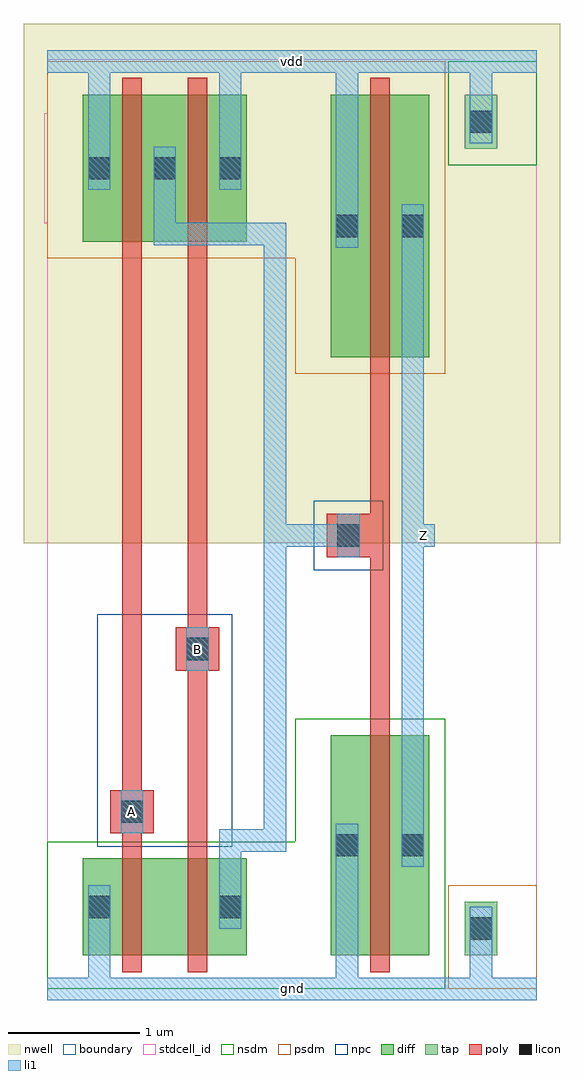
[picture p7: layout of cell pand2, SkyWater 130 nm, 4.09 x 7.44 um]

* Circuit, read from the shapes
.subckt pand2 A B Z gnd vdd
XM1 pnand2_0/nmos_m1_w0_740_sli_dactive_2/D A gnd gnd sky130_fd_pr__nfet_01v8 w=0.74 l=0.15
XM2 pdriver_1/A B pnand2_0/nmos_m1_w0_740_sli_dactive_2/D gnd sky130_fd_pr__nfet_01v8 w=0.74 l=0.15
XM3 Z pdriver_1/A gnd gnd sky130_fd_pr__nfet_01v8 w=1.68 l=0.15
XM4 pdriver_1/A A vdd vdd sky130_fd_pr__pfet_01v8 w=1.12 l=0.15
XM5 vdd B pdriver_1/A vdd sky130_fd_pr__pfet_01v8 w=1.12 l=0.15
XM6 Z pdriver_1/A vdd vdd sky130_fd_pr__pfet_01v8 w=2 l=0.15
.ends

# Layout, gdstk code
import gdstk
lib = gdstk.Library(unit=1e-6, precision=1e-09)
def R(c, l, rs):  # rectangles x0, y0, x1, y1
    for r in rs: c.add(gdstk.rectangle(r[:2], r[2:], *l))
nwell = (64, 20)
diff = (65, 20)
tap = (65, 44)
poly = (66, 20)
licon = (66, 44)
li1 = (67, 20)
stdcell_id = (81, 4)
nsdm = (93, 44)
psdm = (94, 20)
npc = (95, 20)
boundary = (235, 4)

contact_11 = lib.new_cell('contact_11')
R(contact_11, nwell, [(-0.295,-0.255,0.545,0.585)])
R(contact_11, diff, [(0,0.02,0.25,0.31)])
R(contact_11, licon, [(0.04,0.08,0.21,0.25)])
R(contact_11, li1, [(0.04,0,0.21,0.33)])
R(contact_11, stdcell_id, [(-0.295,-0.255,0.545,0.585)])
R(contact_11, psdm, [(-0.125,-0.105,0.375,0.435)])
R(contact_11, boundary, [(-0.295,-0.255,0.545,0.585)])

pmos_m1_w1_120_sli_dli = lib.new_cell('pmos_m1_w1_120_sli_dli')
R(pmos_m1_w1_120_sli_dli, nwell, [(-0.27,-0.27,1.02,1.39)])
R(pmos_m1_w1_120_sli_dli, diff, [(0,0,0.75,1.12)])
R(pmos_m1_w1_120_sli_dli, poly, [(0.3,-0.13,0.45,1.25), (0.3,-0.13,0.45,1.25)])
R(pmos_m1_w1_120_sli_dli, li1, [(0.04,0.395,0.21,0.725), (0.54,0.395,0.71,0.725)])
R(pmos_m1_w1_120_sli_dli, stdcell_id, [(-0.27,-0.27,1.02,1.39)])
R(pmos_m1_w1_120_sli_dli, psdm, [(-0.125,-0.125,0.875,1.245)])
R(pmos_m1_w1_120_sli_dli, boundary, [(-0.27,-0.27,1.02,1.39)])
pmos_m1_w1_120_sli_dli.add(gdstk.Reference(contact_11, (0,0.395)))
pmos_m1_w1_120_sli_dli.add(gdstk.Reference(contact_11, (0.5,0.395)))
pmos_m1_w1_120_sli_dli.add(gdstk.Label('S', (0.125,0.56), layer=67, texttype=16))
pmos_m1_w1_120_sli_dli.add(gdstk.Label('G', (0.375,0.56), layer=66, texttype=16))
pmos_m1_w1_120_sli_dli.add(gdstk.Label('D', (0.625,0.56), layer=67, texttype=16))

contact_17 = lib.new_cell('contact_17')
R(contact_17, diff, [(0,0.02,0.25,0.31)])
R(contact_17, licon, [(0.04,0.08,0.21,0.25)])
R(contact_17, li1, [(0.04,0,0.21,0.33)])
R(contact_17, stdcell_id, [(-0.125,-0.105,0.375,0.435)])
R(contact_17, nsdm, [(-0.125,-0.105,0.375,0.435)])
R(contact_17, boundary, [(-0.125,-0.105,0.375,0.435)])

nmos_m1_w0_740_sli_dacti = lib.new_cell('nmos_m1_w0_740_sli_dactive')
R(nmos_m1_w0_740_sli_dacti, diff, [(0,0,0.75,0.74), (0.55,0.295,0.7,0.445)])
R(nmos_m1_w0_740_sli_dacti, poly, [(0.3,-0.13,0.45,0.87), (0.3,-0.13,0.45,0.87)])
R(nmos_m1_w0_740_sli_dacti, li1, [(0.04,0.205,0.21,0.535)])
R(nmos_m1_w0_740_sli_dacti, stdcell_id, [(-0.125,-0.13,0.875,0.87)])
R(nmos_m1_w0_740_sli_dacti, nsdm, [(-0.125,-0.125,0.875,0.865)])
R(nmos_m1_w0_740_sli_dacti, boundary, [(-0.125,-0.13,0.875,0.87)])
nmos_m1_w0_740_sli_dacti.add(gdstk.Reference(contact_17, (0,0.205)))
nmos_m1_w0_740_sli_dacti.add(gdstk.Label('S', (0.125,0.37), layer=67, texttype=16))
nmos_m1_w0_740_sli_dacti.add(gdstk.Label('G', (0.375,0.37), layer=66, texttype=16))
nmos_m1_w0_740_sli_dacti.add(gdstk.Label('D', (0.625,0.37), layer=65, texttype=16))

nmos_m1_w0_740_sactive_d = lib.new_cell('nmos_m1_w0_740_sactive_dli')
R(nmos_m1_w0_740_sactive_d, diff, [(0,0,0.75,0.74), (0.05,0.295,0.2,0.445)])
R(nmos_m1_w0_740_sactive_d, poly, [(0.3,-0.13,0.45,0.87), (0.3,-0.13,0.45,0.87)])
R(nmos_m1_w0_740_sactive_d, li1, [(0.54,0.205,0.71,0.535)])
R(nmos_m1_w0_740_sactive_d, stdcell_id, [(-0.125,-0.13,0.875,0.87)])
R(nmos_m1_w0_740_sactive_d, nsdm, [(-0.125,-0.125,0.875,0.865)])
R(nmos_m1_w0_740_sactive_d, boundary, [(-0.125,-0.13,0.875,0.87)])
nmos_m1_w0_740_sactive_d.add(gdstk.Reference(contact_17, (0.5,0.205)))
nmos_m1_w0_740_sactive_d.add(gdstk.Label('S', (0.125,0.37), layer=65, texttype=16))
nmos_m1_w0_740_sactive_d.add(gdstk.Label('G', (0.375,0.37), layer=66, texttype=16))
nmos_m1_w0_740_sactive_d.add(gdstk.Label('D', (0.625,0.37), layer=67, texttype=16))

contact_12 = lib.new_cell('contact_12')
R(contact_12, poly, [(0,0,0.33,0.33)])
R(contact_12, licon, [(0.08,0.08,0.25,0.25)])
R(contact_12, li1, [(0.08,0,0.25,0.33)])
R(contact_12, stdcell_id, [(-0.1,-0.1,0.43,0.43)])
R(contact_12, npc, [(-0.1,-0.1,0.43,0.43)])
R(contact_12, boundary, [(-0.1,-0.1,0.43,0.43)])

pnand2 = lib.new_cell('pnand2')
R(pnand2, nwell, [(-0.18,3.395,2.07,7.355)])
R(pnand2, poly, [(0.57,1.125,0.72,5.565), (1.07,1.125,1.22,5.565), (0.57,1.185,0.645,1.515), (1.07,2.425,1.145,2.755)])
R(pnand2, li1, [(0,-0.085,1.89,0.085), (0.31,-0.085,0.48,0.46), (1.31,0.79,1.48,1.13), (1.31,1.045,1.48,1.215), (1.395,1.045,1.735,1.215), (1.65,1.045,1.82,1.215), (1.65,1.13,1.82,5.755), (0.56,1.185,0.73,1.515), (1.06,2.425,1.23,2.755), (0.81,5.67,0.98,5.84), (0.895,5.67,1.735,5.84), (1.65,5.67,1.82,5.84), (0.81,5.755,0.98,6.09), (0.31,6.09,0.48,7.155), (1.31,6.09,1.48,7.155), (0,6.985,1.89,7.155)])
R(pnand2, stdcell_id, [(0,0,1.89,7.07), (0,0,1.89,7.07)])
R(pnand2, nsdm, [(0,0,1.89,1.12)])
R(pnand2, psdm, [(0,5.57,1.89,7.07)])
R(pnand2, npc, [(0.38,1.085,1.41,2.855)])
R(pnand2, boundary, [(0,0,1.89,7.07), (0,0,1.89,7.07)])
pnand2.add(gdstk.Reference(pmos_m1_w1_120_sli_dli, (0.27,5.695)))
pnand2.add(gdstk.Reference(pmos_m1_w1_120_sli_dli, (0.77,5.695)))
pnand2.add(gdstk.Reference(nmos_m1_w0_740_sli_dacti, (0.27,0.255)))
pnand2.add(gdstk.Reference(nmos_m1_w0_740_sactive_d, (0.77,0.255)))
pnand2.add(gdstk.Reference(contact_12, (0.48,1.185)))
pnand2.add(gdstk.Reference(contact_12, (0.98,2.425)))
pnand2.add(gdstk.Label('gnd', (0.945,0), layer=67, texttype=16))
pnand2.add(gdstk.Label('Z', (1.735,5.755), layer=67, texttype=16))
pnand2.add(gdstk.Label('vdd', (0.945,7.07), layer=67, texttype=16))
pnand2.add(gdstk.Label('A', (0.645,1.35), layer=67, texttype=16))
pnand2.add(gdstk.Label('B', (1.145,2.59), layer=67, texttype=16))

pmos_m7_w2_000_sli_dli_d = lib.new_cell('pmos_m7_w2_000_sli_dli_da_p')
R(pmos_m7_w2_000_sli_dli_d, nwell, [(-0.27,-0.27,1.02,2.27)])
R(pmos_m7_w2_000_sli_dli_d, diff, [(0,0,0.75,2)])
R(pmos_m7_w2_000_sli_dli_d, poly, [(0.3,-0.13,0.45,2.13), (0.3,-0.13,0.45,2.13)])
R(pmos_m7_w2_000_sli_dli_d, li1, [(0.04,0.835,0.21,1.165), (0.54,0.835,0.71,1.165)])
R(pmos_m7_w2_000_sli_dli_d, stdcell_id, [(-0.27,-0.27,1.02,2.27)])
R(pmos_m7_w2_000_sli_dli_d, psdm, [(-0.125,-0.125,0.875,2.125)])
R(pmos_m7_w2_000_sli_dli_d, boundary, [(-0.27,-0.27,1.02,2.27)])
pmos_m7_w2_000_sli_dli_d.add(gdstk.Reference(contact_11, (0,0.835)))
pmos_m7_w2_000_sli_dli_d.add(gdstk.Reference(contact_11, (0.5,0.835)))
pmos_m7_w2_000_sli_dli_d.add(gdstk.Label('S', (0.125,1), layer=67, texttype=16))
pmos_m7_w2_000_sli_dli_d.add(gdstk.Label('G', (0.375,1), layer=66, texttype=16))
pmos_m7_w2_000_sli_dli_d.add(gdstk.Label('D', (0.625,1), layer=67, texttype=16))

nmos_m7_w1_680_sli_dli_d = lib.new_cell('nmos_m7_w1_680_sli_dli_da_p')
R(nmos_m7_w1_680_sli_dli_d, diff, [(0,0,0.75,1.68)])
R(nmos_m7_w1_680_sli_dli_d, poly, [(0.3,-0.13,0.45,1.81), (0.3,-0.13,0.45,1.81)])
R(nmos_m7_w1_680_sli_dli_d, li1, [(0.04,0.675,0.21,1.005), (0.54,0.675,0.71,1.005)])
R(nmos_m7_w1_680_sli_dli_d, stdcell_id, [(-0.125,-0.13,0.875,1.81)])
R(nmos_m7_w1_680_sli_dli_d, nsdm, [(-0.125,-0.125,0.875,1.805)])
R(nmos_m7_w1_680_sli_dli_d, boundary, [(-0.125,-0.13,0.875,1.81)])
nmos_m7_w1_680_sli_dli_d.add(gdstk.Reference(contact_17, (0,0.675)))
nmos_m7_w1_680_sli_dli_d.add(gdstk.Reference(contact_17, (0.5,0.675)))
nmos_m7_w1_680_sli_dli_d.add(gdstk.Label('S', (0.125,0.84), layer=67, texttype=16))
nmos_m7_w1_680_sli_dli_d.add(gdstk.Label('G', (0.375,0.84), layer=66, texttype=16))
nmos_m7_w1_680_sli_dli_d.add(gdstk.Label('D', (0.625,0.84), layer=67, texttype=16))

contact_24 = lib.new_cell('contact_24')
R(contact_24, nwell, [(-0.295,-0.215,0.545,0.625)])
R(contact_24, tap, [(0,0,0.25,0.41)])
R(contact_24, licon, [(0.04,0.12,0.21,0.29)])
R(contact_24, li1, [(0.04,0.04,0.21,0.37)])
R(contact_24, stdcell_id, [(-0.295,-0.215,0.545,0.625)])
R(contact_24, nsdm, [(-0.125,-0.125,0.375,0.535)])
R(contact_24, boundary, [(-0.295,-0.215,0.545,0.625)])

contact_25 = lib.new_cell('contact_25')
R(contact_25, tap, [(0,0,0.25,0.41)])
R(contact_25, licon, [(0.04,0.12,0.21,0.29)])
R(contact_25, li1, [(0.04,0.04,0.21,0.37)])
R(contact_25, stdcell_id, [(-0.125,-0.125,0.375,0.535)])
R(contact_25, psdm, [(-0.125,-0.125,0.375,0.535)])
R(contact_25, boundary, [(-0.125,-0.125,0.375,0.535)])

pinv_1 = lib.new_cell('pinv_1')
R(pinv_1, nwell, [(-0.18,3.395,2.02,7.355)])
R(pinv_1, poly, [(0.57,2.065,0.72,4.685), (0.405,3.29,0.57,3.62)])
R(pinv_1, li1, [(0,-0.085,1.84,0.085), (0.31,-0.085,0.48,0.93), (1.33,0,1.5,0.46), (0.81,0.93,0.98,5.98), (0.32,3.29,0.49,3.62), (0.895,3.37,1.065,3.54), (0.31,5.65,0.48,7.155), (1.33,6.61,1.5,7.07), (0,6.985,1.84,7.155)])
R(pinv_1, stdcell_id, [(0,0,1.84,7.07), (0,0,1.84,7.07)])
R(pinv_1, nsdm, [(0,0,1.145,2.06), (1.165,6.28,1.84,7.07)])
R(pinv_1, psdm, [(1.165,0,1.84,0.79), (0,4.69,1.145,7.07)])
R(pinv_1, boundary, [(0,0,1.84,7.07), (0,0,1.84,7.07)])
pinv_1.add(gdstk.Reference(pmos_m7_w2_000_sli_dli_d, (0.27,4.815)))
pinv_1.add(gdstk.Reference(nmos_m7_w1_680_sli_dli_d, (0.27,0.255)))
pinv_1.add(gdstk.Reference(contact_24, (1.29,6.405)))
pinv_1.add(gdstk.Reference(contact_25, (1.29,0.255)))
pinv_1.add(gdstk.Reference(contact_12, (0.24,3.29)))
pinv_1.add(gdstk.Label('gnd', (0.92,0), layer=67, texttype=16))
pinv_1.add(gdstk.Label('Z', (0.98,3.455), layer=67, texttype=16))
pinv_1.add(gdstk.Label('vdd', (0.92,7.07), layer=67, texttype=16))
pinv_1.add(gdstk.Label('A', (0.405,3.455), layer=67, texttype=16))

pdriver = lib.new_cell('pdriver')
R(pdriver, nwell, [(-0.18,3.395,2.02,7.355)])
R(pdriver, li1, [(0,-0.085,1.84,0.085), (0.32,3.29,0.49,3.62), (0.895,3.37,1.065,3.54), (0,6.985,1.84,7.155)])
R(pdriver, stdcell_id, [(0,0,1.84,7.07), (0,0,1.84,7.07)])
R(pdriver, boundary, [(0,0,1.84,7.07), (0,0,1.84,7.07)])
pdriver.add(gdstk.Reference(pinv_1, (0,0)))
pdriver.add(gdstk.Label('gnd', (0.92,0), layer=67, texttype=16))
pdriver.add(gdstk.Label('Z', (0.98,3.455), layer=67, texttype=16))
pdriver.add(gdstk.Label('vdd', (0.92,7.07), layer=67, texttype=16))
pdriver.add(gdstk.Label('A', (0.405,3.455), layer=67, texttype=16))

pand2 = lib.new_cell('pand2')
R(pand2, li1, [(0,-0.085,3.73,0.085), (0.56,1.185,0.73,1.515), (1.06,2.425,1.23,2.755), (1.65,3.37,1.82,3.54), (1.735,3.37,2.295,3.54), (2.785,3.37,2.955,3.54), (1.65,3.455,1.82,5.755), (0,6.985,3.73,7.155)])
R(pand2, stdcell_id, [(0,0,3.73,7.07), (0,0,3.73,7.07)])
R(pand2, boundary, [(0,0,3.73,7.07), (0,0,3.73,7.07)])
pand2.add(gdstk.Reference(pnand2, (0,0)))
pand2.add(gdstk.Reference(pdriver, (1.89,0)))
pand2.add(gdstk.Label('gnd', (1.865,0), layer=67, texttype=16))
pand2.add(gdstk.Label('Z', (2.87,3.455), layer=67, texttype=16))
pand2.add(gdstk.Label('vdd', (1.865,7.07), layer=67, texttype=16))
pand2.add(gdstk.Label('A', (0.645,1.35), layer=67, texttype=16))
pand2.add(gdstk.Label('B', (1.145,2.59), layer=67, texttype=16))

lib.write_gds('pand2.gds')
